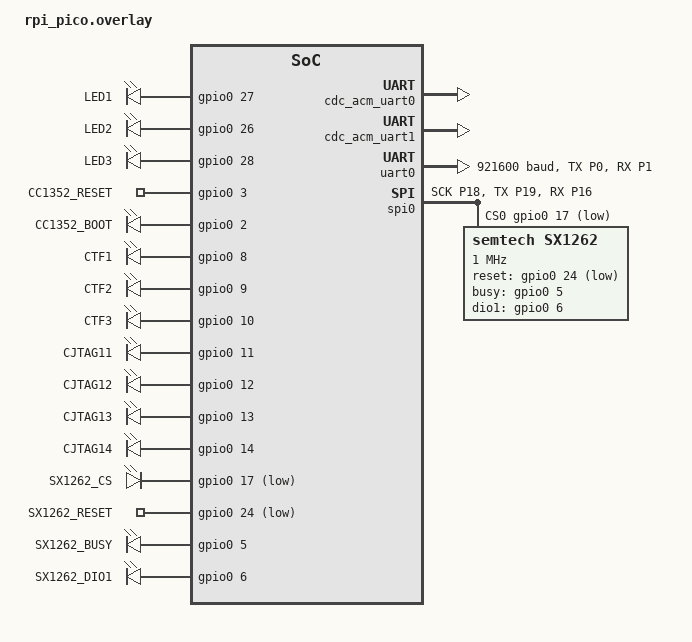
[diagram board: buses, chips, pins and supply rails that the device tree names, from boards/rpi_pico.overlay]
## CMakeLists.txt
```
# SPDX-License-Identifier: Apache-2.0

cmake_minimum_required(VERSION 3.13.1)
find_package(Zephyr REQUIRED HINTS $ENV{ZEPHYR_BASE})

project(catsniffer LANGUAGES C)

target_include_directories(app PRIVATE ${CMAKE_SOURCE_DIR}/include)

FILE(GLOB app_sources src/*.c)

# Add local usb init
target_sources_ifdef(CONFIG_USB_DEVICE_STACK_NEXT app PRIVATE
    src/USB/usbd_init.c
)

target_sources(app PRIVATE ${app_sources})
```

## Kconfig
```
# Copyright (c) 2021 Nordic Semiconductor ASA
# SPDX-License-Identifier: Apache-2.0
#
# This file is the application Kconfig entry point. All application Kconfig
# options can be defined here or included via other application Kconfig files.
# You can browse these options using the west targets menuconfig (terminal) or
# guiconfig (GUI).
source "samples/subsys/usb/common/Kconfig.sample_usbd"

source "Kconfig.zephyr"
```

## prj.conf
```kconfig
# Copyright (c) 2021 Nordic Semiconductor ASA
# SPDX-License-Identifier: Apache-2.0
#
# This file contains selected Kconfig options for the application.

# Enable console over USB
CONFIG_SERIAL=y
CONFIG_UART_INTERRUPT_DRIVEN=y
CONFIG_UART_LINE_CTRL=y

# Use only the new USB device stack
CONFIG_USB_DEVICE_STACK_NEXT=y
CONFIG_USBD_CDC_ACM_CLASS=y

# ADD THESE SPI CONFIGURATIONS:
CONFIG_SPI=y
CONFIG_LORA=y
CONFIG_GPIO=y
CONFIG_LORA_SX126X=y

# Enable unique serial number from chip ID
CONFIG_HWINFO=y

# Optional: Logging levels for debugging
CONFIG_LOG=n
CONFIG_CONSOLE=n
CONFIG_UART_CONSOLE=n
CONFIG_LOG=n
CONFIG_PRINTK=n
CONFIG_USBD_LOG_LEVEL_WRN=n
CONFIG_UDC_DRIVER_LOG_LEVEL_WRN=n
CONFIG_USBD_CDC_ACM_LOG_LEVEL_ERR=n


# Optional: USB product strings
CONFIG_SAMPLE_USBD_PID=0xBABB
CONFIG_SAMPLE_USBD_PRODUCT="Catsniffer"
CONFIG_SAMPLE_USBD_MANUFACTURER="Electronic Cats"

# (legacy USB stack )
# CONFIG_USB_DEVICE_STACK=y
# CONFIG_USB_DEVICE_PRODUCT="Zephyr CDC ACM sample"
# CONFIG_USB_DEVICE_PID=0x0001
# CONFIG_USB_DEVICE_INITIALIZE_AT_BOOT=n
# CONFIG_USB_DRIVER_LOG_LEVEL_ERR=y
# CONFIG_USB_DEVICE_LOG_LEVEL_ERR=y
```

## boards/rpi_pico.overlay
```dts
/ {
    chosen {
        uart-cc1352 = &uart0;
    };

    aliases {
        pin-reset = &cc1352_reset;
        pin-boot = &cc1352_boot;
        led0 = &led_0;
        led1 = &led_1;
        led2 = &led_2;
        ctf1 = &ctf1_pin;
        ctf2 = &ctf2_pin;
        ctf3 = &ctf3_pin;
        cjtag0 = &cjtag0;
        cjtag1 = &cjtag1;
        cjtag2 = &cjtag2;
        cjtag3 = &cjtag3;
        lora0 = &sx1262;
    };

    leds {
        compatible = "gpio-leds";
        led_0: led0 {
            gpios = <&gpio0 27 GPIO_ACTIVE_HIGH>;
            label = "LED1";
        };
        led_1: led1 {
            gpios = <&gpio0 26 GPIO_ACTIVE_HIGH>;
            label = "LED2";
        };
        led_2: led2 {
            gpios = <&gpio0 28 GPIO_ACTIVE_HIGH>;
            label = "LED3";
        };
    };

    gpio_pins {
        compatible = "gpio-leds";

        cc1352_reset: cc1352-reset {
            gpios = <&gpio0 3 GPIO_ACTIVE_HIGH>;
            label = "CC1352_RESET";
        };
        cc1352_boot: cc1352-boot {
            gpios = <&gpio0 2 GPIO_ACTIVE_HIGH>;
            label = "CC1352_BOOT";
        };
        ctf1_pin: ctf1 {
            gpios = <&gpio0 8 GPIO_ACTIVE_HIGH>;
            label = "CTF1";
        };
        ctf2_pin: ctf2 {
            gpios = <&gpio0 9 GPIO_ACTIVE_HIGH>;
            label = "CTF2";
        };
        ctf3_pin: ctf3 {
            gpios = <&gpio0 10 GPIO_ACTIVE_HIGH>;
            label = "CTF3";
        };

        cjtag0: cjtag0 {
            gpios = <&gpio0 11 GPIO_ACTIVE_HIGH>;
            label = "CJTAG11";
        };

        cjtag1: cjtag1 {
            gpios = <&gpio0 12 GPIO_ACTIVE_HIGH>;
            label = "CJTAG12";
        };

        cjtag2: cjtag2 {
            gpios = <&gpio0 13 GPIO_ACTIVE_HIGH>;
            label = "CJTAG13";
        };

        cjtag3: cjtag3 {
            gpios = <&gpio0 14 GPIO_ACTIVE_HIGH>;
            label = "CJTAG14";
        };

        sx1262_cs_pin: sx1262-cs {
            gpios = <&gpio0 17 GPIO_ACTIVE_LOW>;
            label = "SX1262_CS";
        };
        
        sx1262_reset_pin: sx1262-reset {
            gpios = <&gpio0 24 GPIO_ACTIVE_LOW>;
            label = "SX1262_RESET";
        };
        
        sx1262_busy_pin: sx1262-busy {
            gpios = <&gpio0 5 GPIO_ACTIVE_HIGH>;
            label = "SX1262_BUSY";
        };
        
        sx1262_dio1_pin: sx1262-dio1 {
            gpios = <&gpio0 6 GPIO_ACTIVE_HIGH>;
            label = "SX1262_DIO1";
        };
    };
};

&zephyr_udc0 {
    cdc_acm_uart0: cdc_acm_uart0 {
        compatible = "zephyr,cdc-acm-uart";
        label = "CDC_ACM_0";
    };
    
    cdc_acm_uart1: cdc_acm_uart1 {
        compatible = "zephyr,cdc-acm-uart";
        label = "CDC_ACM_1";
    };
};

&uart0 {
    current-speed = <921600>;
    status = "okay";
    pinctrl-0 = <&uart0_default>;
    pinctrl-names = "default";
};

// Enable and configure SPI for SX1262 
&spi0 {
    status = "okay";
    pinctrl-0 = <&spi0_default>;
    pinctrl-names = "default";
    cs-gpios = <&gpio0 17 GPIO_ACTIVE_LOW>;
    
    sx1262: sx1262@0 {
        compatible = "semtech,sx1262";
        reg = <0>;
        spi-max-frequency = <1000000>;
        
        reset-gpios = <&gpio0 24 GPIO_ACTIVE_LOW>;
        busy-gpios = <&gpio0 5 GPIO_ACTIVE_HIGH>;
        dio1-gpios = <&gpio0 6 GPIO_ACTIVE_HIGH>;
    };
};

&pinctrl {
    uart0_default: uart0_default {
        group1 {
            pinmux = <UART0_TX_P0>;
        };
        group2 {
            pinmux = <UART0_RX_P1>;
            input-enable;
        };
    };
    
    spi0_default: spi0_default {
        group1 {
            pinmux = <SPI0_SCK_P18>, <SPI0_TX_P19>;  // GPIO18=SCK, GPIO19=COPI(MOSI)
        };
        group2 {
            pinmux = <SPI0_RX_P16>;  // GPIO16=CIPO(MISO)
            input-enable;
        };
    };
};


/*
 * ACTUAL PIN MAPPING FROM CATSNIFFER SCHEMATIC:
 * 
 * SX1262 Signal  | Pico GPIO | Pico Pin | Function
 * ---------------|-----------|----------|----------
 * CS             | GPIO17    | Pin 22   | SPI Chip Select (JTAG/TDO when JTAG not used)
 * SCK            | GPIO18    | Pin 29   | SPI Clock
 * MOSI (COPI)    | GPIO19    | Pin 30   | SPI Master Out
 * MISO (CIPO)    | GPIO16    | Pin 27   | SPI Master In
 * RESET          | GPIO24    | Pin 36   | Reset (active low) -> RESET_SX
 * BUSY           | GPIO5     | Pin 6    | Busy indicator
 * DIO1           | GPIO6     | Pin 7    | Interrupt output
 * 
 * Note: COPI = Controller Out Peripheral In (MOSI)
 *       CIPO = Controller In Peripheral Out (MISO)
 */
```

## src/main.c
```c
/*
 * Complete Dual USB CDC-ACM Catsniffer Firmware
 * Eduardo Contreras @ Electronic Cats
 * 
 */

#include <catsniffer_usbd.h>
#include <zephyr/kernel.h>
#include <zephyr/device.h>
#include <zephyr/drivers/gpio.h>
#include <zephyr/drivers/uart.h>
#include <zephyr/sys/ring_buffer.h>
#include <zephyr/usb/usbd.h>
#include <zephyr/logging/log.h>
#include <zephyr/sys/util.h>
#include <string.h>
#include <stdlib.h>

#include "catsniffer.h"
#include "sx1262_driver.h"

LOG_MODULE_REGISTER(catsniffer_main, LOG_LEVEL_INF);

#define CDC0_NODE DT_NODELABEL(cdc_acm_uart0)
#define CDC1_NODE DT_NODELABEL(cdc_acm_uart1)

// Device definitions
#define CC1352_UART  DEVICE_DT_GET(DT_CHOSEN(uart_cc1352))
#define CDC0_DEV  DEVICE_DT_GET(CDC0_NODE)
#define CDC1_DEV  DEVICE_DT_GET(CDC1_NODE)

// Communication buffers 
uint8_t ring_cc1352_to_usb[RING_BUF_SIZE];
uint8_t ring_usb_to_cc1352[RING_BUF_SIZE];
uint8_t ring_sx1262_to_usb[RING_BUF_SIZE];
uint8_t ring_usb_to_sx1262[RING_BUF_SIZE];

struct ring_buf rb_cc1352_to_usb;
struct ring_buf rb_usb_to_cc1352;
struct ring_buf rb_sx1262_to_usb;
struct ring_buf rb_usb_to_sx1262;

// Device references 
const struct device *uart_cc1352;
const struct device *cdc0_dev;
const struct device *cdc1_dev;

// Command recognition pattern
//B1 C3 BF 3C 62
const uint8_t commandID[4] = {0xB1, 0xC3, 0xBF, 0x3C};

// Global catsniffer instance  
catsniffer_t catsniffer = {0};

// RACE CONDITION FIX: Add command processing protection
static volatile bool command_processing = false;

// GPIO pin specifications
static const struct gpio_dt_spec pin_reset = GPIO_DT_SPEC_GET(DT_ALIAS(pin_reset), gpios);
static const struct gpio_dt_spec pin_boot = GPIO_DT_SPEC_GET(DT_ALIAS(pin_boot), gpios);
static const struct gpio_dt_spec led0 = GPIO_DT_SPEC_GET(DT_ALIAS(led0), gpios);
static const struct gpio_dt_spec led1 = GPIO_DT_SPEC_GET(DT_ALIAS(led1), gpios);
static const struct gpio_dt_spec led2 = GPIO_DT_SPEC_GET(DT_ALIAS(led2), gpios);
static const struct gpio_dt_spec ctf1 = GPIO_DT_SPEC_GET(DT_ALIAS(ctf1), gpios);
static const struct gpio_dt_spec ctf2 = GPIO_DT_SPEC_GET(DT_ALIAS(ctf2), gpios);
static const struct gpio_dt_spec ctf3 = GPIO_DT_SPEC_GET(DT_ALIAS(ctf3), gpios);

// LED array for cycling animation 
const struct gpio_dt_spec *LEDs[3] = {&led2, &led0, &led1};

// USB context
static struct usbd_context *catsniffer_usbd;

// Thread definitions
#define LORA_THREAD_STACK_SIZE 2048
K_THREAD_STACK_DEFINE(lora_thread_stack, LORA_THREAD_STACK_SIZE);
static struct k_thread lora_thread;

// RACE CONDITION FIX: Safe ring buffer operations
static inline uint32_t safe_ring_buf_put(struct ring_buf *rb, const uint8_t *data, uint32_t size)
{
    unsigned int key = irq_lock();
    uint32_t result = ring_buf_put(rb, data, size);
    irq_unlock(key);
    return result;
}

static inline uint32_t safe_ring_buf_get(struct ring_buf *rb, uint8_t *data, uint32_t size)
{
    unsigned int key = irq_lock();
    uint32_t result = ring_buf_get(rb, data, size);
    irq_unlock(key);
    return result;
}

// USB message callback
static void catsniffer_usb_msg_cb(struct usbd_context *const ctx, const struct usbd_msg *msg)
{
    if (usbd_can_detect_vbus(ctx)) {
        if (msg->type == USBD_MSG_VBUS_READY) {
            usbd_enable(ctx);
        } else if (msg->type == USBD_MSG_VBUS_REMOVED) {
            usbd_disable(ctx);
        }
    }
}

static int enable_usb_device_next(void)
{
    catsniffer_usbd = usbd_init_device(catsniffer_usb_msg_cb);
    if (catsniffer_usbd == NULL) {
        return -ENODEV;
    }
    if (!usbd_can_detect_vbus(catsniffer_usbd)) {
        return usbd_enable(catsniffer_usbd);
    }
    return 0;
}

// CC1352 UART interrupt handler - RACE CONDITION FIXED
static void cc1352_uart_interrupt_handler(const struct device *dev, void *user_data)
{
    while (uart_irq_update(dev) && uart_irq_is_pending(dev)) {
        if (uart_irq_rx_ready(dev)) {
            uint8_t buf[64];
            int len = uart_fifo_read(dev, buf, sizeof(buf));
            if (len > 0) {
                
                safe_ring_buf_put(&rb_cc1352_to_usb, buf, len);
                uart_irq_tx_enable(cdc0_dev);
            }
        }

        if (uart_irq_tx_ready(dev)) {
            uint8_t buf[64];
            
            int len = safe_ring_buf_get(&rb_usb_to_cc1352, buf, sizeof(buf));
            if (len > 0) {
                uart_fifo_fill(dev, buf, len);
            } else {
                uart_irq_tx_disable(dev);
            }
        }
    }
}

// CDC0 (CC1352) interrupt handler - RACE CONDITION FIXED
static void cdc0_interrupt_handler(const struct device *dev, void *user_data)
{
    while (uart_irq_update(dev) && uart_irq_is_pending(dev)) {
        if (uart_irq_rx_ready(dev)) {
            uint8_t buf[64];
            int len = uart_fifo_read(dev, buf, sizeof(buf));
            
            for (int i = 0; i < len; i++) {
                uint8_t data = buf[i];
                
                if (data == commandID[catsniffer.command_counter]) {
                    catsniffer.command_counter++;
                    if (catsniffer.command_counter == 4) {
                        catsniffer.command_recognized = true;
                        command_processing = true;  
                        continue;
                    }
                } else if (!catsniffer.command_recognized) {
                    catsniffer.command_counter = 0;
                }
                
                if (catsniffer.command_recognized) {
                    if (catsniffer.command_data_len < COMMAND_BUF_SIZE - 1) {
                        catsniffer.command_data[catsniffer.command_data_len++] = data;
                    }
                    
                if (catsniffer.command_data_len >= 3 &&
                    catsniffer.command_data[catsniffer.command_data_len-3] == 0xC3 &&
                    catsniffer.command_data[catsniffer.command_data_len-2] == 0xBF &&  
                    catsniffer.command_data[catsniffer.command_data_len-1] == 0xC3) {  
                        
                    process_command(catsniffer.command_data, catsniffer.command_data_len);
                    catsniffer.command_recognized = false;
                    catsniffer.command_data_len = 0;
                    catsniffer.command_counter = 0;
                    command_processing = false;  
                    }
                } else {
                    safe_ring_buf_put(&rb_usb_to_cc1352, &data, 1);
                    uart_irq_tx_enable(uart_cc1352);
                }
            }
        }
        
        if (uart_irq_tx_ready(dev)) {
            uint8_t buf[64];
            int len = safe_ring_buf_get(&rb_cc1352_to_usb, buf, sizeof(buf));
            if (len > 0) {
                uart_fifo_fill(dev, buf, len);
            } else {
                uart_irq_tx_disable(dev);
            }
        }
    }
}

// CDC1 (SX1262) interrupt handler - RACE CONDITION FIXED
static void cdc1_interrupt_handler(const struct device *dev, void *user_data)
{
    while (uart_irq_update(dev) && uart_irq_is_pending(dev)) {
        if (uart_irq_rx_ready(dev)) {
            uint8_t buf[64];
            int len = uart_fifo_read(dev, buf, sizeof(buf));
            if (len > 0) {
                
                safe_ring_buf_put(&rb_usb_to_sx1262, buf, len);
            }
        }
        
        if (uart_irq_tx_ready(dev)) {
            uint8_t buf[64];
            
            int len = safe_ring_buf_get(&rb_sx1262_to_usb, buf, sizeof(buf));
            if (len > 0) {
                uart_fifo_fill(dev, buf, len);
            } else {
                uart_irq_tx_disable(dev);
            }
        }
    }
}

void reset_cc1352(void)
{
    gpio_pin_set_dt(&pin_reset, 0);
    k_msleep(100);
    gpio_pin_set_dt(&pin_reset, 1);
    k_msleep(100);
}

void boot_mode_cc1352(void)
{
    gpio_pin_configure_dt(&pin_boot, GPIO_OUTPUT);
    gpio_pin_set_dt(&pin_boot, 0);
    k_msleep(100);
    reset_cc1352();
}

void change_baud(unsigned long new_baud)
{
    if (new_baud == catsniffer.baud) return;
    
    uart_irq_tx_disable(uart_cc1352);
    uart_irq_rx_disable(uart_cc1352);
    
    struct uart_config cfg;
    uart_config_get(uart_cc1352, &cfg);
    cfg.baudrate = new_baud;
    uart_configure(uart_cc1352, &cfg);
    catsniffer.baud = new_baud;
    
    // Re-enable interrupts
    uart_irq_rx_enable(uart_cc1352);
}

void change_band(unsigned long new_band)
{
    if (new_band == catsniffer.band) return;
    
    switch (new_band) {
        case GIG:
            gpio_pin_set_dt(&ctf1, 0);
            gpio_pin_set_dt(&ctf2, 1);
            gpio_pin_set_dt(&ctf3, 0);
            break;
        case SUBGIG_1:
            gpio_pin_set_dt(&ctf1, 0);
            gpio_pin_set_dt(&ctf2, 0);
            gpio_pin_set_dt(&ctf3, 1);
            break;
        case SUBGIG_2:
            gpio_pin_set_dt(&ctf1, 1);
            gpio_pin_set_dt(&ctf2, 0);
            gpio_pin_set_dt(&ctf3, 0);
            break;
    }
    catsniffer.band = new_band;
}

void change_mode(unsigned long new_mode)
{
    if (new_mode == catsniffer.mode) return;
    
    catsniffer.mode = new_mode;
    
    switch (new_mode) {
        case BOOT:
            catsniffer.led_interval = 200;
            boot_mode_cc1352();
            reset_cc1352();
            k_msleep(200);
            change_baud(500000);
            break;
        case PASSTHROUGH:
            gpio_pin_configure_dt(&pin_boot, GPIO_INPUT | GPIO_PULL_UP);
            reset_cc1352();
            catsniffer.led_interval = 1000;
            change_baud(921600);
            break;
    }
}

void process_command(char *cmd, size_t len)
{
    char debug_msg[128];
    
    // The buffer contains: ['b', 'o', 'o', 't', '>', 0xFF, 0xF1]
    // We need to extract just the payload before the '>'
    
    char *payload_end = NULL;
    for (size_t i = 0; i < len; i++) {
        if (cmd[i] == '>') {
            payload_end = &cmd[i];
            break;
        }
    }
    
    if (!payload_end) {
        snprintf(debug_msg, sizeof(debug_msg), "ERROR: No > found\n");
        safe_ring_buf_put(&rb_cc1352_to_usb, (uint8_t*)debug_msg, strlen(debug_msg));
        uart_irq_tx_enable(cdc0_dev);
        return;
    }
    
    size_t payload_len = payload_end - cmd;
    
    char payload[64];
    if (payload_len >= sizeof(payload)) {
        snprintf(debug_msg, sizeof(debug_msg), "ERROR: Payload too long\n");
        safe_ring_buf_put(&rb_cc1352_to_usb, (uint8_t*)debug_msg, strlen(debug_msg));
        uart_irq_tx_enable(cdc0_dev);
        return;
    }
    
    memcpy(payload, cmd, payload_len);
    payload[payload_len] = '\0';
    
    const char *response;
    
    if (strcmp(payload, "boot") == 0) {
        change_mode(BOOT);
        response = "BOOT\n";
        gpio_pin_set_dt(&led0, 0);
        gpio_pin_set_dt(&led1, 0);
        gpio_pin_set_dt(&led2, catsniffer.mode);
    }
    else if (strcmp(payload, "exit") == 0) {
        change_mode(PASSTHROUGH);
        response = "PASSTHROUGH\n";
        gpio_pin_set_dt(&led0, 0);
        gpio_pin_set_dt(&led1, 0);
        gpio_pin_set_dt(&led2, 0);
    }
    else if (strcmp(payload, "band1") == 0) {
        change_band(GIG);
        response = "2.4GHz Band\n";
        gpio_pin_set_dt(&led0, 0);
        gpio_pin_set_dt(&led1, 0);
        gpio_pin_set_dt(&led2, 0);
    }
    else if (strcmp(payload, "band2") == 0) {
        change_band(SUBGIG_1);
        response = "SUB-GHz Band\n";
        gpio_pin_set_dt(&led0, 0);
        gpio_pin_set_dt(&led1, 0);
        gpio_pin_set_dt(&led2, 0);
    }
    else if (strcmp(payload, "band3") == 0) {
        change_band(SUBGIG_2);
        response = "LoRa Band\n";
        gpio_pin_set_dt(&led0, 0);
        gpio_pin_set_dt(&led1, 0);
        gpio_pin_set_dt(&led2, 0);
    }
    else {
        response = "UNKNOWN\n";
    }
    
    snprintf(debug_msg, sizeof(debug_msg), "Sending response: %s", response);
    safe_ring_buf_put(&rb_cc1352_to_usb, (uint8_t*)debug_msg, strlen(debug_msg));
    uart_irq_tx_enable(cdc0_dev);
    
    safe_ring_buf_put(&rb_cc1352_to_usb, (uint8_t*)response, strlen(response));
    uart_irq_tx_enable(cdc0_dev);
}

void process_lora_command(char *cmd_line)
{
    char response[128];
    
    if (strncmp(cmd_line, "TX ", 3) == 0) {
        snprintf(response, sizeof(response), "TX_OK\n");
    }
    else if (strncmp(cmd_line, "RX", 2) == 0) {
        snprintf(response, sizeof(response), "RX_OK\n");
    }
    else if (strncmp(cmd_line, "STATUS", 6) == 0) {
        snprintf(response, sizeof(response), "STATUS_OK\n");
    }
    else {
        snprintf(response, sizeof(response), "UNKNOWN_CMD\n");
    }
    
    safe_ring_buf_put(&rb_sx1262_to_usb, (uint8_t*)response, strlen(response));
    if (cdc1_dev) uart_irq_tx_enable(cdc1_dev);
}

// LoRa thread function 
static void lora_thread_func(void *p1, void *p2, void *p3)
{
    char command_buffer[128];
    size_t cmd_len = 0;
    
    while (1) {
        uint8_t usb_buf[64];  
        int usb_len = safe_ring_buf_get(&rb_usb_to_sx1262, usb_buf, sizeof(usb_buf));
        
        if (usb_len > 0) {
            for (int i = 0; i < usb_len; i++) {
                char c = usb_buf[i];
                
                if (c == '\n' || c == '\r') {
                    if (cmd_len > 0) {
                        command_buffer[cmd_len] = '\0';
                        process_lora_command(command_buffer);
                        cmd_len = 0;
                    }
                } else if (cmd_len < sizeof(command_buffer) - 1) {
                    command_buffer[cmd_len++] = c;
                }
            }
        }
        k_msleep(10);
    }
}

int main(void)
{
    int ret;
    // Get device references
    uart_cc1352 = CC1352_UART;
    cdc0_dev = CDC0_DEV;
    cdc1_dev = CDC1_DEV; 
    
    // Initialize GPIO
    INIT_GPIO(pin_reset, GPIO_OUTPUT);
    INIT_GPIO(pin_boot, GPIO_INPUT | GPIO_PULL_UP);
    INIT_GPIO(led0, GPIO_OUTPUT);
    INIT_GPIO(led1, GPIO_OUTPUT);
    INIT_GPIO(led2, GPIO_OUTPUT);
    INIT_GPIO(ctf1, GPIO_OUTPUT);
    INIT_GPIO(ctf2, GPIO_OUTPUT);
    INIT_GPIO(ctf3, GPIO_OUTPUT);

    INIT_GPIO(cjtag0, GPIO_INPUT);
    INIT_GPIO(cjtag1, GPIO_INPUT);
    INIT_GPIO(cjtag2, GPIO_INPUT);
    INIT_GPIO(cjtag3, GPIO_INPUT);
    
    gpio_pin_set_dt(&pin_reset, 1);
    
    // Check device readiness
    if (!device_is_ready(cdc0_dev) || !device_is_ready(uart_cc1352)) {
        return -ENODEV;
    }
    
    // Determine mode 
    if (!gpio_pin_get_dt(&pin_boot)) {
        catsniffer.led_interval = 200;
        catsniffer.baud = 500000;
        catsniffer.mode = BOOT;
    } else {
        catsniffer.led_interval = 1000;
        catsniffer.baud = 921600;
        catsniffer.mode = PASSTHROUGH;
    }
    
    // Timeout for boot pin - don't hang forever
    int timeout = 0;
    while (!gpio_pin_get_dt(&pin_boot) && timeout < 50) {
        k_msleep(10);
        timeout++;
    }

    gpio_pin_set_dt(&led0, 0);
    gpio_pin_set_dt(&led1, 0);
    gpio_pin_set_dt(&led2, 0);

    // Initialize USB
    ret = enable_usb_device_next();
    if (ret < 0) {
        return ret;
    }
    gpio_pin_set_dt(&led0, 1);


    // Initialize ALL ring buffers
    ring_buf_init(&rb_cc1352_to_usb, sizeof(ring_cc1352_to_usb), ring_cc1352_to_usb);
    ring_buf_init(&rb_usb_to_cc1352, sizeof(ring_usb_to_cc1352), ring_usb_to_cc1352);
    ring_buf_init(&rb_sx1262_to_usb, sizeof(ring_sx1262_to_usb), ring_sx1262_to_usb);
    ring_buf_init(&rb_usb_to_sx1262, sizeof(ring_usb_to_sx1262), ring_usb_to_sx1262);
    
    // Configure UART
    struct uart_config uart_cfg;
    uart_config_get(uart_cc1352, &uart_cfg);
    uart_cfg.baudrate = catsniffer.baud;
    uart_configure(uart_cc1352, &uart_cfg);
    
    // Set up interrupt handlers
    uart_irq_callback_set(cdc0_dev, cdc0_interrupt_handler);
    uart_irq_rx_enable(cdc0_dev);
    
    // Only set up cdc1 if it exists
    if (cdc1_dev) {
        uart_irq_callback_set(cdc1_dev, cdc1_interrupt_handler);
        uart_irq_rx_enable(cdc1_dev);
    }
    
    uart_irq_callback_set(uart_cc1352, cc1352_uart_interrupt_handler);
    uart_irq_rx_enable(uart_cc1352);
    
    reset_cc1352();
    
    if (catsniffer.mode == BOOT) {
        boot_mode_cc1352();
    } else {
        change_band(GIG);
    }
    
    // Set initial LED states
    gpio_pin_set_dt(&led0, 0);
    gpio_pin_set_dt(&led1, 0);
    gpio_pin_set_dt(&led2, 0);
    
    // Send startup message AFTER everything is initialized
    k_msleep(1000); // Wait a moment for USB to be ready
    const char *startup_msg = "Catsniffer Firmware Ready - Send commands!\n";
    safe_ring_buf_put(&rb_cc1352_to_usb, (uint8_t*)startup_msg, strlen(startup_msg));
    uart_irq_tx_enable(cdc0_dev);
    safe_ring_buf_put(&rb_sx1262_to_usb, (uint8_t*)startup_msg, strlen(startup_msg));
    uart_irq_tx_enable(cdc1_dev);
    
    // Start LoRa thread
    k_thread_create(&lora_thread, lora_thread_stack, LORA_THREAD_STACK_SIZE,
                    lora_thread_func, NULL, NULL, NULL,
                    K_PRIO_COOP(5), 0, K_NO_WAIT);
    
    // Main loop with LED animation 
    while (1) {
        int64_t current_time = k_uptime_get();
        if (current_time - catsniffer.previous_millis > catsniffer.led_interval) {
            catsniffer.previous_millis = current_time;
            //Check catsniffer mode
            if (catsniffer.mode) { 
                static int led_index = 0;
                // Cycle through LEDs
                gpio_pin_toggle_dt(LEDs[led_index]);
                led_index++;
                if (led_index > 2) led_index = 0;
            } else {
                // Just toggle LED2
                gpio_pin_toggle_dt(&led2);
            }
        }
        
        k_msleep(10);
    }
    
    return 0;
}
```

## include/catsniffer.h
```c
/*
 * Catsniffer Dual USB CDC-ACM Header
 * Eduardo Contreras @ Electronic Cats
 */

#ifndef CATSNIFFER_H
#define CATSNIFFER_H

#include <zephyr/kernel.h>
#include <zephyr/device.h>
#include <zephyr/drivers/gpio.h>
#include <catsniffer_usbd.h>
#include <zephyr/kernel.h>
#include <zephyr/device.h>
#include <zephyr/drivers/gpio.h>
#include <zephyr/drivers/uart.h>
#include <zephyr/sys/ring_buffer.h>
#include <zephyr/usb/usbd.h>
#include <zephyr/logging/log.h>
#include <zephyr/sys/util.h>
#include <string.h>
#include <stdlib.h>

// Ring buffer and command buffer sizes
#define RING_BUF_SIZE 1024
#define COMMAND_BUF_SIZE 256


// Helper macro to simplify GPIO setup
#define INIT_GPIO(name, flags) \
	const struct gpio_dt_spec name = GPIO_DT_SPEC_GET_OR(DT_ALIAS(name), gpios, {0}); \
	do { \
		if (!device_is_ready(name.port)) { \
			printk("Error: " #name " device not ready\n"); \
			return 1; \
		} \
		gpio_pin_configure_dt(&name, flags); \
	} while (0)

// Mode definitions
enum MODE {
    PASSTHROUGH = 0,   // CC1352 passthrough @ 921600 baud
    BOOT = 1,          // CC1352 bootloader @ 500000 baud
};

// Band definitions
enum BAND {
    GIG = 0,      // 2.4GHz CC1352
    SUBGIG_1 = 1, // Sub-GHz CC1352  
    SUBGIG_2 = 2  // LoRa SX1262
};

// Catsniffer state structure
typedef struct {
    uint8_t mode;
    uint8_t band;
    unsigned long led_interval;
    int64_t previous_millis;
    unsigned long baud;
    bool command_recognized;
    uint8_t command_counter;
    char command_data[COMMAND_BUF_SIZE];
    size_t command_data_len;
} catsniffer_t;

// Command recognition pattern
extern const uint8_t commandID[4];

// Global catsniffer instance
extern catsniffer_t catsniffer;

// Catsniffer command format
// Commands are wrapped in: ñÿ<command>ÿñ
// Example: ñÿ<boot>ÿñ to enter bootloader mode

// LoRa command format (CDC1):
// TX <hex_data>     - Send LoRa packet (e.g., "TX 48656C6C6F")
// RX [timeout_ms]   - Enter receive mode (e.g., "RX 5000" or "RX" for continuous)
// FREQ <frequency>  - Set frequency in Hz (e.g., "FREQ 868000000")
// SF <7-12>         - Set spreading factor (e.g., "SF 7")
// PWR <-9 to 22>    - Set TX power in dBm (e.g., "PWR 14")
// STATUS            - Get device status

// Function prototypes
static void  reset_cc1352(void);
static void  boot_mode_cc1352(void);
static void  change_baud(unsigned long new_baud);
static void  change_band(unsigned long new_band);
static void  change_mode(unsigned long new_mode);
static void process_command(char *cmd, size_t len);
static void  process_lora_command(char *cmd_line);

#endif /* CATSNIFFER_H */
```

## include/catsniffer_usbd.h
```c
/*
 * Copyright (c) 2023 Nordic Semiconductor ASA.
 *
 * SPDX-License-Identifier: Apache-2.0
 */

#ifndef ZEPHYR_SUBSYS_USBD_H
#define ZEPHYR_SUBSYS_USBD_H

#include <stdint.h>
#include <zephyr/usb/usbd.h>

/*
 * This function uses Kconfig.sample_usbd options to configure and initialize a
 * USB device. It configures sample's device context, default string descriptors,
 * USB device configuration, registers any available class instances, and
 * finally initializes USB device. It is limited to a single device with a
 * single configuration instantiated in sample_usbd_init.c, which should be
 * enough for a simple USB device sample.
 *
 * It returns the configured and initialized USB device context on success,
 * otherwise it returns NULL.
 */
struct usbd_context *sample_usbd_init_device(usbd_msg_cb_t msg_cb);

/*
 * This function is similar to sample_usbd_init_device(), but does not
 * initialize the device. It allows the application to set additional features,
 * such as additional descriptors.
 */
struct usbd_context *sample_usbd_setup_device(usbd_msg_cb_t msg_cb);

#endif /* ZEPHYR_SAMPLES_SUBSYS_USB_COMMON_SAMPLE_USBD_H */
```

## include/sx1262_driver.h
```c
/*
 * SX1262 LoRa Driver Header for Catsniffer
 * Eduardo Contreras @ Electronic Cats
 * 
 * This header defines the SX1262 LoRa transceiver interface
 */

#ifndef SX1262_DRIVER_H
#define SX1262_DRIVER_H

#include <zephyr/kernel.h>
#include <zephyr/device.h>
#include <zephyr/drivers/spi.h>
#include <zephyr/drivers/gpio.h>

// SX1262 Commands
#define SX1262_CMD_GET_STATUS           0xC0
#define SX1262_CMD_WRITE_REGISTER       0x0D
#define SX1262_CMD_READ_REGISTER        0x1D
#define SX1262_CMD_WRITE_BUFFER         0x0E
#define SX1262_CMD_READ_BUFFER          0x1E
#define SX1262_CMD_SET_SLEEP            0x84
#define SX1262_CMD_SET_STANDBY          0x80
#define SX1262_CMD_SET_FS               0xC1
#define SX1262_CMD_SET_TX               0x83
#define SX1262_CMD_SET_RX               0x82
#define SX1262_CMD_SET_RF_FREQUENCY     0x86
#define SX1262_CMD_SET_PA_CONFIG        0x95
#define SX1262_CMD_SET_TX_PARAMS        0x8E
#define SX1262_CMD_SET_MODULATION_PARAMS 0x8B
#define SX1262_CMD_SET_PACKET_PARAMS    0x8C
#define SX1262_CMD_GET_RX_BUFFER_STATUS 0x13
#define SX1262_CMD_GET_PACKET_STATUS    0x14
#define SX1262_CMD_GET_RSSI_INST        0x15
#define SX1262_CMD_GET_STATS            0x10
#define SX1262_CMD_RESET_STATS          0x00
#define SX1262_CMD_CFG_DIO_IRQ          0x08
#define SX1262_CMD_GET_IRQ_STATUS       0x12
#define SX1262_CMD_CLR_IRQ_STATUS       0x02
#define SX1262_CMD_CALIBRATE            0x89
#define SX1262_CMD_CALIBRATE_IMAGE      0x98
#define SX1262_CMD_SET_REGULATOR_MODE   0x96

// SX1262 Status
#define SX1262_STATUS_MODE_MASK         0x70
#define SX1262_STATUS_CMD_MASK          0x0E

// SX1262 Modes
#define SX1262_MODE_SLEEP               0x00
#define SX1262_MODE_STBY_RC             0x20
#define SX1262_MODE_STBY_XOSC           0x30
#define SX1262_MODE_FS                  0x40
#define SX1262_MODE_TX                  0x60
#define SX1262_MODE_RX                  0x50

// IRQ definitions
#define SX1262_IRQ_TX_DONE              (1 << 0)
#define SX1262_IRQ_RX_DONE              (1 << 1)
#define SX1262_IRQ_PREAMBLE_DETECTED    (1 << 2)
#define SX1262_IRQ_SYNC_WORD_VALID      (1 << 3)
#define SX1262_IRQ_HEADER_VALID         (1 << 4)
#define SX1262_IRQ_HEADER_ERR           (1 << 5)
#define SX1262_IRQ_CRC_ERR              (1 << 6)
#define SX1262_IRQ_CAD_DONE             (1 << 7)
#define SX1262_IRQ_CAD_DETECTED         (1 << 8)
#define SX1262_IRQ_TIMEOUT              (1 << 9)

// SX1262 structure
typedef struct {
    const struct device *spi_dev;
    struct spi_config spi_cfg;
    const struct gpio_dt_spec cs_pin;
    const struct gpio_dt_spec reset_pin;
    const struct gpio_dt_spec busy_pin;
    const struct gpio_dt_spec dio1_pin;
    
    uint32_t frequency;
    int8_t tx_power;
    uint8_t spreading_factor;
    uint8_t bandwidth;
    uint8_t coding_rate;
    bool crc_enabled;
    
    k_tid_t irq_thread_id;
    struct k_work irq_work;
    struct gpio_callback dio1_callback;
    
    // Callbacks
    void (*tx_done_callback)(void);
    void (*rx_done_callback)(uint8_t *data, uint8_t len, int16_t rssi, int8_t snr);
    void (*rx_error_callback)(void);
} sx1262_t;

// Function prototypes
int sx1262_init(sx1262_t *sx);
int sx1262_reset(sx1262_t *sx);
int sx1262_write_command(sx1262_t *sx, uint8_t cmd, uint8_t *data, uint8_t len);
int sx1262_read_command(sx1262_t *sx, uint8_t cmd, uint8_t *data, uint8_t len);
int sx1262_write_register(sx1262_t *sx, uint16_t addr, uint8_t value);
uint8_t sx1262_read_register(sx1262_t *sx, uint16_t addr);
int sx1262_write_buffer(sx1262_t *sx, uint8_t offset, uint8_t *data, uint8_t len);
int sx1262_read_buffer(sx1262_t *sx, uint8_t offset, uint8_t *data, uint8_t len);
uint8_t sx1262_get_status(sx1262_t *sx);
int sx1262_set_standby(sx1262_t *sx, uint8_t mode);
int sx1262_set_packet_type(sx1262_t *sx, uint8_t packet_type);
int sx1262_set_rf_frequency(sx1262_t *sx, uint32_t frequency);
int sx1262_set_tx_params(sx1262_t *sx, int8_t power, uint8_t ramp_time);
int sx1262_set_modulation_params(sx1262_t *sx);
int sx1262_set_packet_params(sx1262_t *sx, uint16_t preamble_len, uint8_t header_type, 
                           uint8_t payload_len, uint8_t crc_type, uint8_t invert_iq);
int sx1262_send(sx1262_t *sx, uint8_t *data, uint8_t len);
int sx1262_receive(sx1262_t *sx, uint32_t timeout);
int sx1262_set_dio_irq_params(sx1262_t *sx, uint16_t irq_mask, uint16_t dio1_mask, 
                             uint16_t dio2_mask, uint16_t dio3_mask);
int sx1262_get_irq_status(sx1262_t *sx, uint16_t *irq_status);
int sx1262_clear_irq_status(sx1262_t *sx, uint16_t irq_mask);
void sx1262_wait_on_busy(sx1262_t *sx);

#endif /* SX1262_DRIVER_H */
```

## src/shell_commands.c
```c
/*
 * shell_commands.c - Command Table Based Shell
 */

#include "shell_commands.h"
#include <string.h>
#include <stdio.h>
#include <stdlib.h>
#include <zephyr/kernel.h>
#include <pico/bootrom.h>

#include "catsniffer.h"

// External functions from main.c
void shell_reply(const char *msg);
void change_mode(unsigned long new_mode);
void change_band(unsigned long new_band);
void process_lora_command(char *cmd_line);
void set_status_leds(int l0, int l1, int l2);

extern catsniffer_t catsniffer;

// Command handler type
typedef void (*cmd_handler_t)(char *args);

// Command table entry
typedef struct {
    const char *name;
    cmd_handler_t handler;
    const char *help;
    bool prefix_match;  // true for commands with args (TX, TEST)
} shell_cmd_t;

// Forward declarations
static void cmd_help(char *args);
static void cmd_boot(char *args);
static void cmd_exit(char *args);
static void cmd_band1(char *args);
static void cmd_band2(char *args);
static void cmd_band3(char *args);
static void cmd_reboot(char *args);
static void cmd_tx(char *args);
static void cmd_test(char *args);
static void cmd_txtest(char *args);
static void cmd_status(char *args);

// Command table
static const shell_cmd_t commands[] = {
    {"help",   cmd_help,   "Show available commands",    false},
    {"boot",   cmd_boot,   "CC1352 bootloader mode",     false},
    {"exit",   cmd_exit,   "Return to passthrough",      false},
    {"band1",  cmd_band1,  "2.4GHz band",                false},
    {"band2",  cmd_band2,  "SUB-GHz band",               false},
    {"band3",  cmd_band3,  "LoRa band",                  false},
    {"reboot", cmd_reboot, "RP2040 USB bootloader",      false},
    {"status", cmd_status, "Device status",              false},
    {"TXTEST", cmd_txtest, "LoRa TX test mode",          false},
    {"TX",     cmd_tx,     "Send LoRa hex packet",       true},
    {"TEST",   cmd_test,   "LoRa test",                  true},
    {NULL,     NULL,       NULL,                         false}
};

// Command implementations
static void cmd_help(char *args) {
    shell_reply("Commands:\r\n");
    for (const shell_cmd_t *cmd = commands; cmd->name != NULL; cmd++) {
        char buf[64];
        snprintf(buf, sizeof(buf), "  %-8s - %s\r\n", cmd->name, cmd->help);
        shell_reply(buf);
    }
}

static void cmd_boot(char *args) {
    change_mode(BOOT);
    set_status_leds(0, 0, catsniffer.mode);
    shell_reply("BOOT\r\n");
}

static void cmd_exit(char *args) {
    change_mode(PASSTHROUGH);
    set_status_leds(0, 0, 0);
    shell_reply("PASSTHROUGH\r\n");
}

static void cmd_band1(char *args) {
    change_band(GIG);
    set_status_leds(0, 0, 0);
    shell_reply("2.4GHz Band\r\n");
}

static void cmd_band2(char *args) {
    change_band(SUBGIG_1);
    set_status_leds(0, 0, 0);
    shell_reply("SUB-GHz Band\r\n");
}

static void cmd_band3(char *args) {
    change_band(SUBGIG_2);
    set_status_leds(0, 0, 0);
    shell_reply("LoRa Band\r\n");
}

static void cmd_reboot(char *args) {
    shell_reply("Entering USB bootloader...\r\n");
    k_msleep(100);
    reset_usb_boot(0, 0);
}

static void cmd_tx(char *args) {
    process_lora_command(args);
}

static void cmd_test(char *args) {
    process_lora_command(args);
}

static void cmd_txtest(char *args) {
    process_lora_command(args);
}

static void cmd_status(char *args) {
    char buf[128];
    snprintf(buf, sizeof(buf), 
        "Mode: %d, Band: %d, LoRa: %s\r\n",
        catsniffer.mode, 
        catsniffer.band,
        "ready");
    shell_reply(buf);
}

// Main command processor
void process_command(char *cmd, size_t len) {
    if (len == 0) return;
    
    for (const shell_cmd_t *entry = commands; entry->name != NULL; entry++) {
        if (entry->prefix_match) {
            size_t name_len = strlen(entry->name);
            if (strncmp(cmd, entry->name, name_len) == 0) {
                entry->handler(cmd);
                return;
            }
        } else {
            if (strcmp(cmd, entry->name) == 0) {
                entry->handler(cmd);
                return;
            }
        }
    }
    
    shell_reply("Unknown command. Type 'help'\r\n");
}
```

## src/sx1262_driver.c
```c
/*
 * SX1262 LoRa Driver Implementation for Catsniffer
 * Eduardo Contreras @ Electronic Cats
 */

#include "sx1262_driver.h"
#include <zephyr/logging/log.h>
#include <zephyr/sys/util.h>
#include <string.h>

LOG_MODULE_REGISTER(sx1262_driver, LOG_LEVEL_INF);

void sx1262_wait_on_busy(sx1262_t *sx)
{
    while (gpio_pin_get_dt(&sx->busy_pin)) {
        k_usleep(10);
    }
}

int sx1262_reset(sx1262_t *sx)
{
    gpio_pin_set_dt(&sx->reset_pin, 0);
    k_msleep(1);
    gpio_pin_set_dt(&sx->reset_pin, 1);
    k_msleep(100);
    sx1262_wait_on_busy(sx);
    return 0;
}

int sx1262_write_command(sx1262_t *sx, uint8_t cmd, uint8_t *data, uint8_t len)
{
    sx1262_wait_on_busy(sx);
    
    uint8_t tx_buf[256];
    tx_buf[0] = cmd;
    if (data && len > 0) {
        memcpy(&tx_buf[1], data, len);
    }
    
    struct spi_buf tx_spi_buf = {
        .buf = tx_buf,
        .len = len + 1
    };
    
    struct spi_buf_set tx_spi_buf_set = {
        .buffers = &tx_spi_buf,
        .count = 1
    };
    
    return spi_transceive(sx->spi_dev, &sx->spi_cfg, &tx_spi_buf_set, NULL);
}

int sx1262_read_command(sx1262_t *sx, uint8_t cmd, uint8_t *data, uint8_t len)
{
    sx1262_wait_on_busy(sx);
    
    uint8_t tx_buf[256] = {cmd};
    uint8_t rx_buf[256];
    
    struct spi_buf tx_spi_buf = {
        .buf = tx_buf,
        .len = len + 2
    };
    
    struct spi_buf rx_spi_buf = {
        .buf = rx_buf,
        .len = len + 2
    };
    
    struct spi_buf_set tx_spi_buf_set = {
        .buffers = &tx_spi_buf,
        .count = 1
    };
    
    struct spi_buf_set rx_spi_buf_set = {
        .buffers = &rx_spi_buf,
        .count = 1
    };
    
    int ret = spi_transceive(sx->spi_dev, &sx->spi_cfg, &tx_spi_buf_set, &rx_spi_buf_set);
    if (ret == 0 && data && len > 0) {
        memcpy(data, &rx_buf[2], len);
    }
    
    return ret;
}

uint8_t sx1262_get_status(sx1262_t *sx)
{
    uint8_t status;
    sx1262_read_command(sx, SX1262_CMD_GET_STATUS, &status, 1);
    return status;
}

int sx1262_set_standby(sx1262_t *sx, uint8_t mode)
{
    uint8_t data = mode;
    return sx1262_write_command(sx, SX1262_CMD_SET_STANDBY, &data, 1);
}

int sx1262_set_packet_type(sx1262_t *sx, uint8_t packet_type)
{
    uint8_t data = packet_type;
    return sx1262_write_command(sx, SX1262_CMD_SET_PACKET_PARAMS, &data, 1);
}

int sx1262_set_rf_frequency(sx1262_t *sx, uint32_t frequency)
{
    uint8_t data[4];
    uint32_t freq_raw = (uint32_t)((double)frequency / 32000000.0 * 16777216.0);
    
    data[0] = (freq_raw >> 24) & 0xFF;
    data[1] = (freq_raw >> 16) & 0xFF;
    data[2] = (freq_raw >> 8) & 0xFF;
    data[3] = freq_raw & 0xFF;
    
    sx->frequency = frequency;
    return sx1262_write_command(sx, SX1262_CMD_SET_RF_FREQUENCY, data, 4);
}

int sx1262_set_tx_params(sx1262_t *sx, int8_t power, uint8_t ramp_time)
{
    uint8_t data[2];
    data[0] = power;
    data[1] = ramp_time;
    
    sx->tx_power = power;
    return sx1262_write_command(sx, SX1262_CMD_SET_TX_PARAMS, data, 2);
}

int sx1262_set_modulation_params(sx1262_t *sx)
{
    uint8_t data[4];
    data[0] = sx->spreading_factor;
    data[1] = sx->bandwidth;
    data[2] = sx->coding_rate;
    data[3] = 0;
    
    return sx1262_write_command(sx, SX1262_CMD_SET_MODULATION_PARAMS, data, 4);
}

int sx1262_send(sx1262_t *sx, uint8_t *data, uint8_t len)
{
    int ret;
    
    ret = sx1262_write_buffer(sx, 0, data, len);
    if (ret < 0) return ret;
    
    uint8_t tx_data[3] = {0x00, 0x00, 0x00};
    return sx1262_write_command(sx, SX1262_CMD_SET_TX, tx_data, 3);
}

int sx1262_receive(sx1262_t *sx, uint32_t timeout)
{
    uint8_t data[3];
    data[0] = (timeout >> 16) & 0xFF;
    data[1] = (timeout >> 8) & 0xFF;
    data[2] = timeout & 0xFF;
    
    return sx1262_write_command(sx, SX1262_CMD_SET_RX, data, 3);
}

int sx1262_write_buffer(sx1262_t *sx, uint8_t offset, uint8_t *data, uint8_t len)
{
    sx1262_wait_on_busy(sx);
    
    uint8_t tx_buf[256];
    tx_buf[0] = SX1262_CMD_WRITE_BUFFER;
    tx_buf[1] = offset;
    memcpy(&tx_buf[2], data, len);
    
    struct spi_buf tx_spi_buf = {
        .buf = tx_buf,
        .len = len + 2
    };
    
    struct spi_buf_set tx_spi_buf_set = {
        .buffers = &tx_spi_buf,
        .count = 1
    };
    
    return spi_write(sx->spi_dev, &sx->spi_cfg, &tx_spi_buf_set);
}

int sx1262_read_buffer(sx1262_t *sx, uint8_t offset, uint8_t *data, uint8_t len)
{
    sx1262_wait_on_busy(sx);
    
    uint8_t tx_buf[2] = {SX1262_CMD_READ_BUFFER, offset};
    uint8_t rx_buf[258];
    
    struct spi_buf tx_spi_buf = {
        .buf = tx_buf,
        .len = 2
    };
    
    struct spi_buf rx_spi_buf = {
        .buf = rx_buf,
        .len = len + 3
    };
    
    struct spi_buf_set tx_spi_buf_set = {
        .buffers = &tx_spi_buf,
        .count = 1
    };
    
    struct spi_buf_set rx_spi_buf_set = {
        .buffers = &rx_spi_buf,
        .count = 1
    };
    
    int ret = spi_transceive(sx->spi_dev, &sx->spi_cfg, &tx_spi_buf_set, &rx_spi_buf_set);
    if (ret == 0) {
        memcpy(data, &rx_buf[3], len);
    }
    
    return ret;
}

int sx1262_get_irq_status(sx1262_t *sx, uint16_t *irq_status)
{
    uint8_t data[2];
    int ret = sx1262_read_command(sx, SX1262_CMD_GET_IRQ_STATUS, data, 2);
    if (ret == 0) {
        *irq_status = (data[0] << 8) | data[1];
    }
    return ret;
}

int sx1262_clear_irq_status(sx1262_t *sx, uint16_t irq_mask)
{
    uint8_t data[2];
    data[0] = (irq_mask >> 8) & 0xFF;
    data[1] = irq_mask & 0xFF;
    
    return sx1262_write_command(sx, SX1262_CMD_CLR_IRQ_STATUS, data, 2);
}
```
